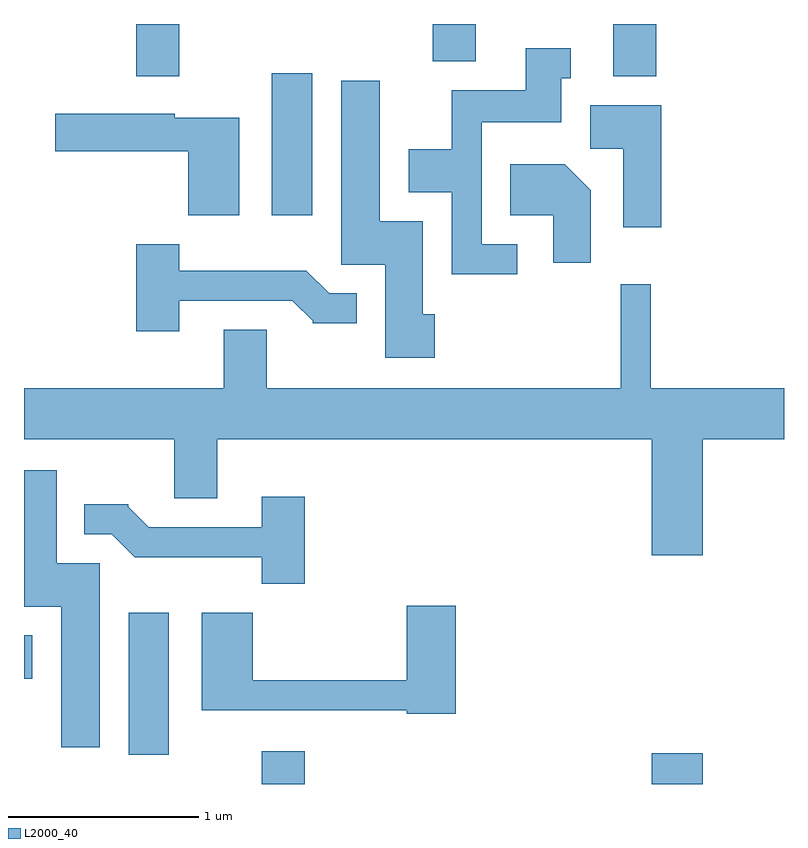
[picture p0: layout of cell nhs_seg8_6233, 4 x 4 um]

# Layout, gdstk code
import gdstk
lib = gdstk.Library(unit=1e-6, precision=1e-09)
def R(c, l, rs):  # rectangles x0, y0, x1, y1
    for r in rs: c.add(gdstk.rectangle(r[:2], r[2:], *l))
def P(c, l, *ps):  # polygons
    for p in ps: c.add(gdstk.Polygon(p, *l))
L2000_40 = (2000, 40)

nhs_seg8_6233 = lib.new_cell('nhs_seg8_6233')
R(nhs_seg8_6233, L2000_40, [(372.861,1872.342,373.089,1872.514), (374.916,1872.342,375.184,1872.504), (372.161,1872.496,372.374,1873.244), (371.611,1872.896,371.654,1873.124), (372.916,1875.336,373.129,1876.084), (372.201,1876.066,372.429,1876.342), (374.711,1876.066,374.939,1876.342), (373.761,1876.146,373.989,1876.342)])
P(nhs_seg8_6233, L2000_40, [(374.208,1875.184),(374.019,1875.184),(374.019,1875.826),(374.439,1875.826),(374.439,1876.056),(374.488,1876.056),(374.488,1876.214),(374.251,1876.214),(374.251,1875.994),(373.861,1875.994),(373.861,1875.684),(373.636,1875.684),(373.636,1875.456),(373.861,1875.456),(373.861,1875.026),(374.208,1875.026)],
  [(373.774,1874.814),(373.709,1874.814),(373.709,1875.304),(373.484,1875.304),(373.484,1876.044),(373.281,1876.044),(373.281,1875.076),(373.511,1875.076),(373.511,1874.586),(373.774,1874.586)],
  [(374.964,1875.914),(374.591,1875.914),(374.591,1875.686),(374.766,1875.686),(374.766,1875.271),(374.964,1875.271)],
  [(372.744,1875.849),(372.404,1875.849),(372.404,1875.869),(371.776,1875.869),(371.776,1875.671),(372.476,1875.671),(372.476,1875.336),(372.744,1875.336)],
  [(374.594,1875.467),(374.457,1875.604),(374.171,1875.604),(374.171,1875.336),(374.396,1875.336),(374.396,1875.086),(374.594,1875.086)],
  [(372.429,1874.886),(373.024,1874.886),(373.13,1874.78),(373.13,1874.766),(373.363,1874.766),(373.363,1874.924),(373.217,1874.924),(373.097,1875.044),(372.429,1875.044),(372.429,1875.184),(372.201,1875.184),(372.201,1874.726),(372.429,1874.726)],
  [(375.184,1874.156),(375.611,1874.156),(375.611,1874.424),(374.909,1874.424),(374.909,1874.973),(374.751,1874.973),(374.751,1874.424),(372.889,1874.424),(372.889,1874.734),(372.661,1874.734),(372.661,1874.424),(371.611,1874.424),(371.611,1874.156),(372.401,1874.156),(372.401,1873.846),(372.629,1873.846),(372.629,1874.156),(374.916,1874.156),(374.916,1873.546),(375.184,1873.546)],
  [(372.009,1873.504),(371.784,1873.504),(371.784,1873.994),(371.611,1873.994),(371.611,1873.276),(371.806,1873.276),(371.806,1872.536),(372.009,1872.536)],
  [(373.089,1873.854),(372.861,1873.854),(372.861,1873.694),(372.267,1873.694),(372.16,1873.801),(372.16,1873.814),(371.928,1873.814),(371.928,1873.656),(372.074,1873.656),(372.194,1873.536),(372.861,1873.536),(372.861,1873.396),(373.089,1873.396)],
  [(373.884,1873.279),(373.626,1873.279),(373.626,1872.889),(372.814,1872.889),(372.814,1873.244),(372.546,1873.244),(372.546,1872.731),(373.626,1872.731),(373.626,1872.711),(373.884,1872.711)])

lib.write_gds('nhs_seg8_6233.gds')
